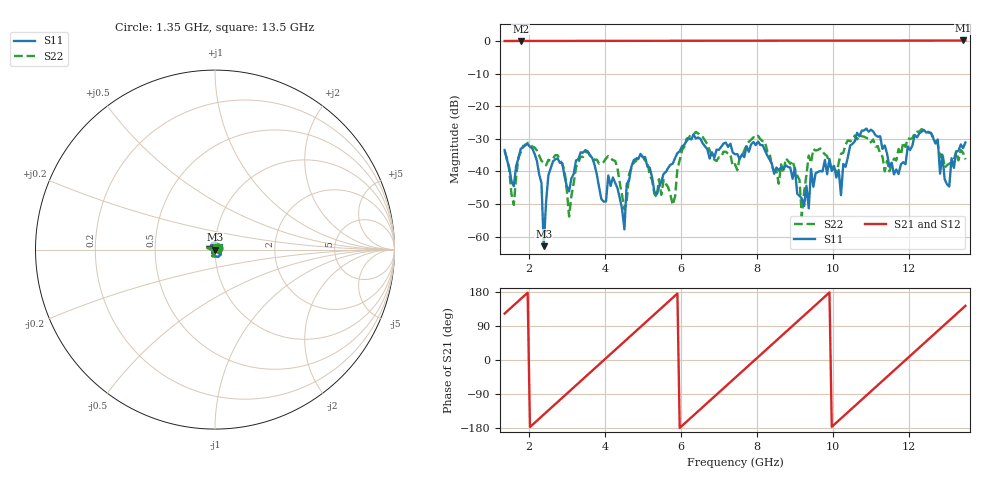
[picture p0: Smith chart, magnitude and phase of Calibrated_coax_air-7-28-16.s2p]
!Agilent Technologies,N5230C,MY48100320,A.08.04.10
!Agilent N5230C: A.08.04.10
!Date: Friday, July 29, 2016 03:00:08
!Correction: S11(Full 2 Port(1,2))
!S21(Full 2 Port(1,2))
!S12(Full 2 Port(1,2))
!S22(Full 2 Port(1,2))
!S2P File: Measurements: S11, S21, S12, S22:
# Hz S  dB  R 50
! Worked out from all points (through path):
!   201 points, 1.35 GHz to 13.5 GHz, reference 50 ohm
!   highest |S21| = 0.18 dB at 13.44 GHz (marker M1); lowest = 0.0 dB at 1.776 GHz (marker M2)
!   lowest |S11| = -62.9 dB at 2.383 GHz (marker M3), VSWR 1.00, Z = 49.9 + j0.0272 ohm
!   |S11| at or under -10 dB: start of sweep to end of sweep
!   |S22| runs from -53.9 to -27.0 dB; largest |S21 - S12| = 0.0037
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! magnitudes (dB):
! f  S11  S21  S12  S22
! 1.35 GHz  -33.5  0.0  0.0  -33.8
! 1.593 GHz  -44.6  0.0  0.0  -50.3
! 1.776 GHz  -33.0  0.0  0.0  -34.1
! 2.201 GHz  -36.7  0.0  0.0  -33.6
! 2.383 GHz  -62.9  0.0  0.0  -37.4
! 2.626 GHz  -36.9  0.0  0.0  -36.1
! 3.051 GHz  -46.1  0.0  0.0  -53.9
! 3.416 GHz  -34.2  0.1  0.0  -35.6
! 4.509 GHz  -57.8  0.1  0.1  -51.6
! 4.752 GHz  -36.6  0.1  0.1  -37.3
! 5.42 GHz  -44.8  0.1  0.1  -42.4
! 5.785 GHz  -37.6  0.1  0.1  -50.3
! 6.392 GHz  -29.9  0.1  0.1  -27.9
! 7.425 GHz  -34.7  0.1  0.1  -37.8
! 8.944 GHz  -42.3  0.1  0.1  -36.8
! 9.187 GHz  -48.3  0.1  0.1  -53.8
! 9.491 GHz  -44.7  0.1  0.1  -33.2
! 10.22 GHz  -47.3  0.1  0.1  -34.6
! 10.89 GHz  -26.9  0.1  0.1  -29.7
! 11.5 GHz  -38.6  0.1  0.1  -40.0
! 13.44 GHz  -32.9  0.2  0.2  -34.3
! 13.5 GHz  -31.1  0.2  0.2  -36.3
